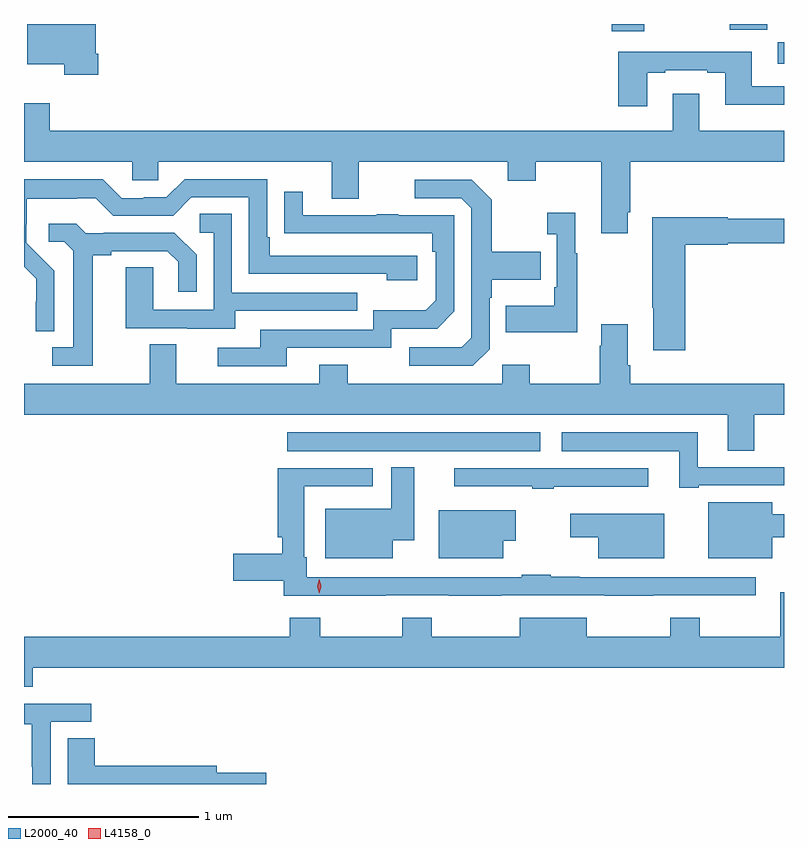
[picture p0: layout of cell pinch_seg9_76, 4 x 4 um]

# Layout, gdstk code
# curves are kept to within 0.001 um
import gdstk
lib = gdstk.Library(unit=1e-6, precision=1e-09)
def R(c, l, rs):  # rectangles x0, y0, x1, y1
    for r in rs: c.add(gdstk.rectangle(r[:2], r[2:], *l))
def P(c, l, *ps):  # polygons
    for p in ps: c.add(gdstk.Polygon(p, *l))
L2000_40 = (2000, 40)
L4158_0 = (4158, 0)

pinch_seg9_76 = lib.new_cell('pinch_seg9_76')
R(pinch_seg9_76, L2000_40, [(1117.557,1186.904,1118.89,1187.005), (1120.139,1188.945,1120.172,1189.058), (1119.266,1189.115,1119.436,1189.153), (1119.887,1189.124,1120.084,1189.153), (1119.635,1189.152,1119.802,1189.153)])
P(pinch_seg9_76, L2000_40, [(1116.563,1188.997),(1116.55,1188.997),(1116.55,1189.153),(1116.188,1189.153),(1116.188,1188.941),(1116.385,1188.941),(1116.385,1188.885),(1116.563,1188.885)],
  [(1119.451,1188.897),(1119.547,1188.897),(1119.547,1188.909),(1119.767,1188.909),(1119.767,1188.897),(1119.863,1188.897),(1119.863,1188.728),(1120.172,1188.728),(1120.172,1188.825),(1120.003,1188.825),(1120.003,1189.006),(1119.299,1189.006),(1119.299,1188.72),(1119.451,1188.72)],
  [(1119.349,1188.163),(1119.362,1188.163),(1119.362,1188.428),(1120.172,1188.428),(1120.172,1188.592),(1119.727,1188.592),(1119.727,1188.787),(1119.587,1188.787),(1119.587,1188.592),(1116.307,1188.592),(1116.307,1188.736),(1116.172,1188.736),(1116.172,1188.428),(1116.741,1188.428),(1116.741,1188.33),(1116.879,1188.33),(1116.879,1188.428),(1117.793,1188.428),(1117.793,1188.234),(1117.933,1188.234),(1117.933,1188.428),(1118.717,1188.428),(1118.717,1188.329),(1118.865,1188.329),(1118.865,1188.428),(1119.209,1188.428),(1119.209,1188.051),(1119.349,1188.051)],
  [(1116.33,1187.854),(1116.184,1188.002),(1116.184,1188.099),(1116.186,1188.099),(1116.186,1188.233),(1116.449,1188.233),(1116.449,1188.237),(1116.549,1188.237),(1116.642,1188.144),(1116.957,1188.144),(1117.053,1188.24),(1117.356,1188.24),(1117.356,1187.838),(1118.081,1187.838),(1118.081,1187.804),(1118.242,1187.804),(1118.242,1187.934),(1117.465,1187.934),(1117.465,1188.031),(1117.452,1188.031),(1117.452,1188.336),(1117.017,1188.336),(1116.921,1188.24),(1116.803,1188.24),(1116.803,1188.237),(1116.687,1188.237),(1116.587,1188.337),(1116.172,1188.337),(1116.172,1187.876),(1116.236,1187.813),(1116.236,1187.69),(1116.234,1187.69),(1116.234,1187.536),(1116.33,1187.536)],
  [(1118.622,1187.442),(1118.622,1187.711),(1118.635,1187.711),(1118.635,1187.807),(1118.891,1187.807),(1118.891,1187.955),(1118.635,1187.955),(1118.635,1188.227),(1118.529,1188.333),(1118.229,1188.333),(1118.229,1188.237),(1118.472,1188.237),(1118.526,1188.183),(1118.526,1187.502),(1118.475,1187.451),(1118.199,1187.451),(1118.199,1187.355),(1118.535,1187.355)],
  [(1117.555,1187.448),(1118.106,1187.448),(1118.106,1187.55),(1118.346,1187.55),(1118.436,1187.64),(1118.436,1188.147),(1118.141,1188.147),(1118.141,1188.152),(1118.029,1188.152),(1118.029,1188.147),(1117.639,1188.147),(1117.639,1188.271),(1117.543,1188.271),(1117.543,1188.052),(1118.32,1188.051),(1118.32,1187.954),(1118.34,1187.954),(1118.34,1187.7),(1118.287,1187.647),(1118.01,1187.647),(1118.01,1187.544),(1117.415,1187.544),(1117.415,1187.448),(1117.191,1187.448),(1117.191,1187.352),(1117.555,1187.352)],
  [(1119.085,1187.947),(1119.073,1187.947),(1119.073,1188.16),(1118.925,1188.16),(1118.925,1188.047),(1118.976,1188.047),(1118.976,1187.767),(1118.964,1187.767),(1118.964,1187.671),(1118.707,1187.671),(1118.707,1187.531),(1119.085,1187.531)],
  [(1117.285,1187.643),(1117.925,1187.643),(1117.925,1187.739),(1117.266,1187.739),(1117.266,1188.155),(1117.098,1188.155),(1117.098,1188.054),(1117.17,1188.054),(1117.17,1187.649),(1116.852,1187.649),(1116.852,1187.873),(1116.707,1187.873),(1116.707,1187.553),(1117.031,1187.553),(1117.031,1187.549),(1117.285,1187.549)],
  [(1119.653,1187.99),(1119.876,1187.99),(1119.876,1187.998),(1120.172,1187.998),(1120.172,1188.127),(1119.876,1188.127),(1119.876,1188.135),(1119.478,1188.135),(1119.478,1187.659),(1119.485,1187.659),(1119.485,1187.436),(1119.653,1187.436)],
  [(1116.535,1187.936),(1116.631,1187.936),(1116.631,1187.958),(1116.926,1187.958),(1116.983,1187.901),(1116.983,1187.745),(1117.08,1187.745),(1117.08,1187.938),(1116.964,1188.054),(1116.592,1188.054),(1116.592,1188.051),(1116.498,1188.051),(1116.446,1188.103),(1116.303,1188.103),(1116.303,1188.006),(1116.384,1188.006),(1116.431,1187.959),(1116.431,1187.451),(1116.321,1187.451),(1116.321,1187.355),(1116.535,1187.355)],
  [(1120.015,1187.096),(1120.172,1187.096),(1120.172,1187.26),(1119.362,1187.26),(1119.362,1187.356),(1119.349,1187.356),(1119.349,1187.572),(1119.209,1187.572),(1119.209,1187.459),(1119.202,1187.459),(1119.202,1187.26),(1118.835,1187.26),(1118.835,1187.359),(1118.688,1187.359),(1118.688,1187.26),(1117.875,1187.26),(1117.875,1187.359),(1117.727,1187.359),(1117.727,1187.26),(1116.973,1187.26),(1116.973,1187.468),(1116.833,1187.468),(1116.833,1187.26),(1116.172,1187.26),(1116.172,1187.096),(1119.875,1187.096),(1119.875,1186.906),(1120.015,1186.906)],
  [(1119.724,1186.725),(1120.172,1186.725),(1120.172,1186.821),(1119.718,1186.821),(1119.718,1187.005),(1119.003,1187.005),(1119.003,1186.904),(1119.62,1186.904),(1119.62,1186.713),(1119.724,1186.713)],
  [(1118.113,1186.436),(1118.227,1186.436),(1118.227,1186.819),(1118.105,1186.819),(1118.105,1186.603),(1117.757,1186.603),(1117.757,1186.34),(1118.113,1186.34)],
  [(1118.075,1186.146),(1118.407,1186.146),(1118.407,1186.145),(1118.684,1186.145),(1118.684,1186.146),(1119.229,1186.146),(1119.229,1186.145),(1119.485,1186.145),(1119.485,1186.146),(1120.024,1186.146),(1120.024,1186.242),(1119.098,1186.242),(1119.098,1186.244),(1118.945,1186.244),(1118.945,1186.255),(1118.791,1186.255),(1118.791,1186.242),(1117.66,1186.242),(1117.66,1186.347),(1117.647,1186.347),(1117.647,1186.719),(1118.008,1186.719),(1118.008,1186.815),(1117.508,1186.815),(1117.508,1186.451),(1117.531,1186.451),(1117.531,1186.364),(1117.272,1186.364),(1117.272,1186.222),(1117.538,1186.222),(1117.538,1186.145),(1118.075,1186.145)],
  [(1118.96,1186.718),(1119.457,1186.718),(1119.457,1186.815),(1118.436,1186.815),(1118.436,1186.719),(1118.848,1186.719),(1118.848,1186.707),(1118.96,1186.707)],
  [(1120.111,1186.451),(1120.172,1186.451),(1120.172,1186.573),(1120.111,1186.573),(1120.111,1186.636),(1119.773,1186.636),(1119.773,1186.34),(1120.111,1186.34)],
  [(1118.695,1186.433),(1118.761,1186.433),(1118.761,1186.594),(1118.354,1186.594),(1118.354,1186.34),(1118.695,1186.34)],
  [(1119.541,1186.576),(1119.048,1186.576),(1119.048,1186.451),(1119.194,1186.451),(1119.194,1186.34),(1119.541,1186.34)],
  [(1116.218,1185.764),(1120.172,1185.764),(1120.172,1186.162),(1120.151,1186.162),(1120.151,1185.928),(1119.729,1185.928),(1119.729,1186.027),(1119.574,1186.027),(1119.574,1185.928),(1119.133,1185.928),(1119.133,1186.027),(1118.78,1186.027),(1118.78,1185.928),(1118.319,1185.928),(1118.319,1186.027),(1118.164,1186.027),(1118.164,1185.928),(1117.731,1185.928),(1117.731,1186.027),(1117.571,1186.027),(1117.571,1185.928),(1116.172,1185.928),(1116.172,1185.665),(1116.218,1185.665)],
  [(1116.312,1185.48),(1116.526,1185.48),(1116.526,1185.576),(1116.172,1185.576),(1116.172,1185.468),(1116.214,1185.468),(1116.214,1185.244),(1116.216,1185.244),(1116.216,1185.153),(1116.312,1185.153)],
  [(1117.447,1185.212),(1117.186,1185.212),(1117.186,1185.248),(1116.545,1185.248),(1116.545,1185.395),(1116.401,1185.395),(1116.401,1185.153),(1117.447,1185.153)])
P(pinch_seg9_76, L4158_0, [(1117.726,1186.158),(1117.726,1186.158),(1117.716,1186.194),(1117.726,1186.23),(1117.726,1186.23),(1117.726,1186.23),(1117.736,1186.194),(1117.726,1186.158)])

lib.write_gds('pinch_seg9_76.gds')
